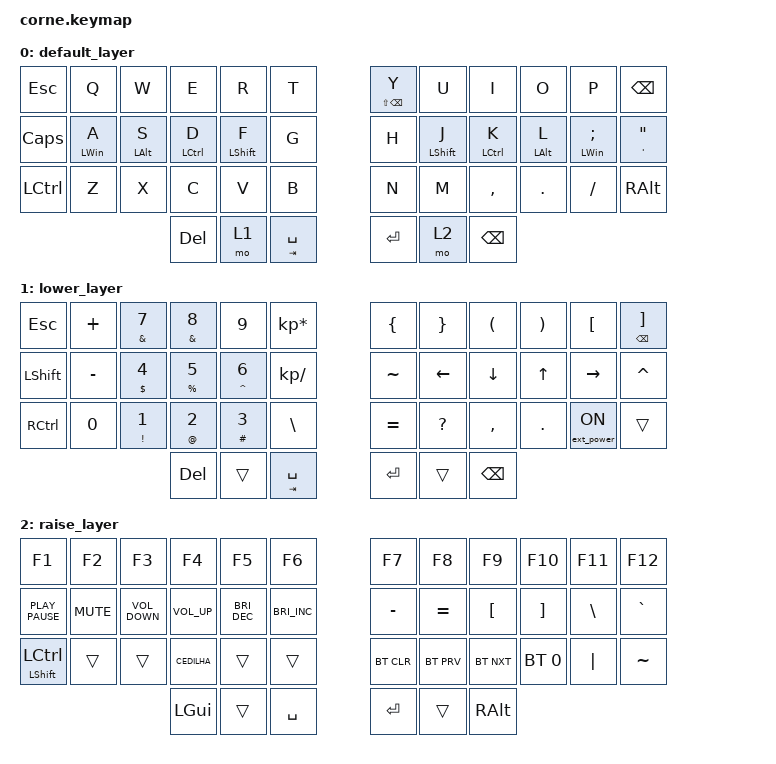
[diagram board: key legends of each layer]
/*
 * Copyright (c) 2020 The ZMK Contributors
 *
 * SPDX-License-Identifier: MIT
 */

#include <behaviors.dtsi>
#include <dt-bindings/zmk/bt.h>
#include <dt-bindings/zmk/ext_power.h>
#include <dt-bindings/zmk/keys.h>

/ {
    macros {
        CEDILHA: CEDILHA {
            compatible = "zmk,behavior-macro";
            #binding-cells = <0>;
            bindings = <&kp RA(COMMA) &kp C>;
            label = "CEDILHA";
        };
    };

    behaviors {
        HMR: HMR {
            compatible = "zmk,behavior-hold-tap";
            label = "HMR";
            bindings = <&kp>, <&kp>;

            #binding-cells = <2>;
            tapping-term-ms = <200>;
            quick-tap-ms = <175>;
            flavor = "tap-preferred";
            hold-trigger-on-release;
        };
    };

    combos {
        compatible = "zmk,combos";

        epwr {
            bindings = <&ext_power EP_ON>;
            key-positions = <1 2>;
        };
    };

    keymap {
        compatible = "zmk,keymap";

        default_layer {
            // -----------------------------------------------------------------------------------------
            // |  TAB |  Q  |  W  |  E  |  R  |  T  |   |  Y  |  U   |  I  |  O  |  P  | BSPC |
            // | CTRL |  A  |  S  |  D  |  F  |  G  |   |  H  |  J   |  K  |  L  |  ;  |  '   |
            // | SHFT |  Z  |  X  |  C  |  V  |  B  |   |  N  |  M   |  ,  |  .  |  /  | ESC  |
            //                    | GUI | LWR | SPC |   | ENT | RSE  | ALT |

            bindings = <
&kp ESCAPE    &kp Q            &kp W            &kp E         &kp R              &kp T             &mt LS(BACKSPACE) Y  &kp U              &kp I          &kp O            &kp P                &kp BACKSPACE
&kp CAPSLOCK  &HMR LEFT_WIN A  &HMR LEFT_ALT S  &HMR LCTRL D  &HMR LEFT_SHIFT F  &kp G             &kp H                &HMR LEFT_SHIFT J  &HMR LCTRL K   &HMR LEFT_ALT L  &HMR LWIN SEMICOLON  &mt SINGLE_QUOTE DOUBLE_QUOTES
&kp LCTRL     &kp Z            &kp X            &kp C         &kp V              &kp B             &kp N                &kp M              &kp COMMA      &kp DOT          &kp FSLH             &kp RIGHT_ALT
                                                &kp DEL       &mo 1              &HMR TAB SPACE    &kp RET              &mo 2              &kp BACKSPACE
            >;
        };

        lower_layer {
            // -----------------------------------------------------------------------------------------
            // |  TAB |  1  |  2  |  3  |  4  |  5  |   |  6  |  7  |  8  |  9  |  0  | BSPC |
            // | BTCLR| BT1 | BT2 | BT3 | BT4 | BT5 |   | LFT | DWN |  UP | RGT |     |      |
            // | SHFT |     |     |     |     |     |   |     |     |     |     |     |      |
            //                    | GUI |     | SPC |   | ENT |     | ALT |

            bindings = <
&kp ESCAPE  &kp PLUS   &mt AMPERSAND N7          &mt AMPERSAND N8      &kp N9              &kp KP_MULTIPLY    &kp LEFT_BRACE  &kp RIGHT_BRACE  &kp LEFT_PARENTHESIS  &kp RIGHT_PARENTHESIS  &kp LEFT_BRACKET  &mt BACKSPACE RIGHT_BRACKET
&kp LSHIFT  &kp MINUS  &mt DOLLAR NUMBER_4       &mt PERCENT N5        &mt CARET NUMBER_6  &kp KP_DIVIDE      &kp TILDE       &kp LEFT_ARROW   &kp DOWN_ARROW        &kp UP_ARROW           &kp RIGHT         &kp CARET
&kp RCTRL   &kp N0     &mt EXCLAMATION NUMBER_1  &mt AT_SIGN NUMBER_2  &mt HASH NUMBER_3   &kp BACKSLASH      &kp EQUAL       &kp QUESTION     &kp COMMA             &kp PERIOD             &ext_power EP_ON  &trans
                                                 &kp DEL               &trans              &HMR TAB SPACE     &kp RET         &trans           &kp BACKSPACE
            >;
        };

        raise_layer {
            // -----------------------------------------------------------------------------------------
            // |  TAB |  !  |  @  |  #  |  $  |  %  |   |  ^  |  &  |  *  |  (  |  )  | BSPC |
            // | CTRL |     |     |     |     |     |   |  -  |  =  |  [  |  ]  |  \  |  `   |
            // | SHFT |     |     |     |     |     |   |  _  |  +  |  {  |  }  | "|" |  ~   |
            //                    | GUI |     | SPC |   | ENT |     | ALT |

            bindings = <
&kp F1                &kp F2      &kp F3             &kp F4           &kp F5                &kp F6                  &kp F7      &kp F8      &kp F9      &kp F10       &kp F11   &kp F12
&kp K_PLAY_PAUSE      &kp K_MUTE  &kp C_VOLUME_DOWN  &kp C_VOLUME_UP  &kp C_BRIGHTNESS_DEC  &kp C_BRIGHTNESS_INC    &kp MINUS   &kp EQUAL   &kp LBKT    &kp RBKT      &kp BSLH  &kp GRAVE
&mt LEFT_SHIFT LCTRL  &trans      &trans             &CEDILHA         &trans                &trans                  &bt BT_CLR  &bt BT_PRV  &bt BT_NXT  &bt BT_SEL 0  &kp PIPE  &kp TILDE
                                                     &kp LGUI         &trans                &kp SPACE               &kp RET     &trans      &kp RALT
            >;
        };
    };
};
